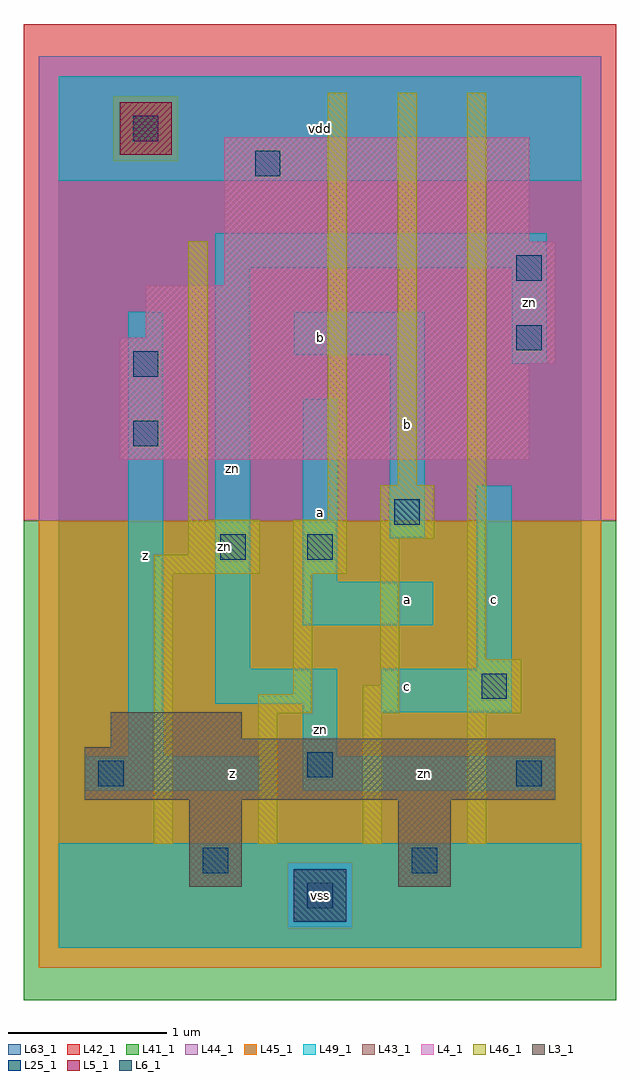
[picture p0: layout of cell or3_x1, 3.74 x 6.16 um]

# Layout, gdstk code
import gdstk
lib = gdstk.Library(unit=1e-6, precision=1e-09)
def R(c, l, rs):  # rectangles x0, y0, x1, y1
    for r in rs: c.add(gdstk.rectangle(r[:2], r[2:], *l))
def A(c, l, x, y, w, h, nx, ny, dx, dy):  # array of equal rectangles
    R(c, l, [(x+i*dx, y+j*dy, x+i*dx+w, y+j*dy+h) for i in range(nx) for j in range(ny)])
L3_1 = (3, 1)
L4_1 = (4, 1)
L5_1 = (5, 1)
L6_1 = (6, 1)
L25_1 = (25, 1)
L41_1 = (41, 1)
L42_1 = (42, 1)
L43_1 = (43, 1)
L44_1 = (44, 1)
L45_1 = (45, 1)
L46_1 = (46, 1)
L49_1 = (49, 1)
L63_1 = (63, 1)

or3_x1 = lib.new_cell('or3_x1')
R(or3_x1, L3_1, [(0.825,0.385,1.155,0.935), (2.145,0.385,2.475,0.935), (0.165,0.935,3.135,1.265), (0.33,1.265,3.135,1.32), (0.33,1.32,1.155,1.485)])
R(or3_x1, L4_1, [(0.385,3.08,2.97,3.685), (0.385,3.685,3.135,3.85), (0.55,3.85,3.135,4.18), (1.045,4.18,3.135,4.455), (1.045,4.455,2.97,5.115)])
R(or3_x1, L5_1, [(0.385,5.005,0.715,5.335)])
R(or3_x1, L6_1, [(1.485,0.165,1.815,0.495)])
R(or3_x1, L25_1, [(1.57,0.25,1.73,0.41), (0.91,0.47,1.07,0.63), (2.23,0.47,2.39,0.63), (0.25,1.02,0.41,1.18), (2.89,1.02,3.05,1.18), (1.57,1.075,1.73,1.235), (2.67,1.57,2.83,1.73), (1.02,2.45,1.18,2.61), (1.57,2.45,1.73,2.61), (2.12,2.67,2.28,2.83), (0.47,3.165,0.63,3.325), (0.47,3.605,0.63,3.765), (2.89,3.77,3.05,3.93), (2.89,4.21,3.05,4.37), (1.24,4.87,1.4,5.03), (0.47,5.09,0.63,5.25)])
R(or3_x1, L41_1, [(-0.22,-0.33,3.52,2.695)])
R(or3_x1, L42_1, [(-0.22,2.695,3.52,5.83)])
R(or3_x1, L43_1, [(1.485,0.165,1.815,0.495), (0.825,0.385,1.155,0.935), (2.145,0.385,2.475,0.935), (0.165,0.935,3.135,1.265), (0.33,1.265,3.135,1.32), (0.33,1.32,1.155,1.485), (0.385,3.08,2.97,3.685), (0.385,3.685,3.135,3.85), (0.55,3.85,3.135,4.18), (1.045,4.18,3.135,4.455), (1.045,4.455,2.97,5.115), (0.385,5.005,0.715,5.335)])
R(or3_x1, L44_1, [(1.445,0.125,1.855,0.535), (-0.125,2.695,3.425,4.965), (-0.125,4.965,0.345,5.375), (0.755,4.965,3.425,5.375), (-0.125,5.375,3.425,5.625)])
R(or3_x1, L45_1, [(-0.125,-0.125,3.425,0.125), (-0.125,0.125,1.445,0.535), (1.855,0.125,3.425,0.535), (-0.125,0.535,3.425,2.695), (0.345,4.965,0.755,5.375)])
A(or3_x1, L46_1, 1.26, 0.655, 0.12, 0.825, 3, 1, 0.66, 0)
R(or3_x1, L46_1, [(0.6,0.655,0.72,2.36), (1.26,1.48,1.6,1.6), (1.92,1.48,2.15,1.655), (2.58,1.48,2.92,1.82), (1.48,1.6,1.6,2.36), (2.03,1.655,2.15,2.58), (2.58,1.82,2.7,5.395), (0.6,2.36,1.27,2.48), (1.48,2.36,1.82,2.7), (0.82,2.48,1.27,2.7), (2.03,2.58,2.37,2.92), (0.82,2.7,0.94,4.46), (1.7,2.7,1.82,5.395), (2.14,2.92,2.26,5.395)])
R(or3_x1, L49_1, [(0,0,3.3,0.66), (0.165,0.99,1.265,1.21), (1.54,0.99,3.135,1.21), (0.44,1.21,0.66,4.015), (1.54,1.21,1.76,1.54), (2.035,1.485,2.86,1.76), (0.99,1.54,1.76,1.76), (0.99,1.76,1.21,4.29), (2.64,1.76,2.86,2.915), (1.54,2.035,2.365,2.31), (1.54,2.31,1.76,3.465), (2.09,2.585,2.31,3.74), (2.86,3.685,3.08,4.29), (1.485,3.74,2.31,4.015), (0.99,4.29,3.08,4.51), (0,4.84,3.3,5.5)])
R(or3_x1, L63_1, [(0,0,3.3,5.5)])
or3_x1.add(gdstk.Label('zn', (1.045,2.53), layer=49, texttype=1))
or3_x1.add(gdstk.Label('z', (0.55,2.475), layer=49, texttype=1))
or3_x1.add(gdstk.Label('z', (0.55,2.475), layer=49, texttype=1))
or3_x1.add(gdstk.Label('z', (1.1,1.1), layer=49, texttype=1))
or3_x1.add(gdstk.Label('z', (1.1,1.1), layer=49, texttype=1))
or3_x1.add(gdstk.Label('zn', (1.1,3.025), layer=49, texttype=1))
or3_x1.add(gdstk.Label('vss', (1.65,0.33), layer=49, texttype=1))
or3_x1.add(gdstk.Label('vss', (1.65,0.33), layer=49, texttype=1))
or3_x1.add(gdstk.Label('zn', (1.65,1.375), layer=49, texttype=1))
or3_x1.add(gdstk.Label('a', (2.2,2.2), layer=49, texttype=1))
or3_x1.add(gdstk.Label('c', (2.2,1.65), layer=49, texttype=1))
or3_x1.add(gdstk.Label('a', (2.2,2.2), layer=49, texttype=1))
or3_x1.add(gdstk.Label('c', (2.2,1.65), layer=49, texttype=1))
or3_x1.add(gdstk.Label('a', (1.65,2.75), layer=49, texttype=1))
or3_x1.add(gdstk.Label('a', (1.65,2.75), layer=49, texttype=1))
or3_x1.add(gdstk.Label('b', (1.65,3.85), layer=49, texttype=1))
or3_x1.add(gdstk.Label('b', (1.65,3.85), layer=49, texttype=1))
or3_x1.add(gdstk.Label('b', (2.2,3.3), layer=49, texttype=1))
or3_x1.add(gdstk.Label('b', (2.2,3.3), layer=49, texttype=1))
or3_x1.add(gdstk.Label('vdd', (1.65,5.17), layer=49, texttype=1))
or3_x1.add(gdstk.Label('vdd', (1.65,5.17), layer=49, texttype=1))
or3_x1.add(gdstk.Label('zn', (2.31,1.1), layer=49, texttype=1))
or3_x1.add(gdstk.Label('c', (2.75,2.2), layer=49, texttype=1))
or3_x1.add(gdstk.Label('c', (2.75,2.2), layer=49, texttype=1))
or3_x1.add(gdstk.Label('zn', (2.97,4.07), layer=49, texttype=1))

lib.write_gds('or3_x1.gds')
